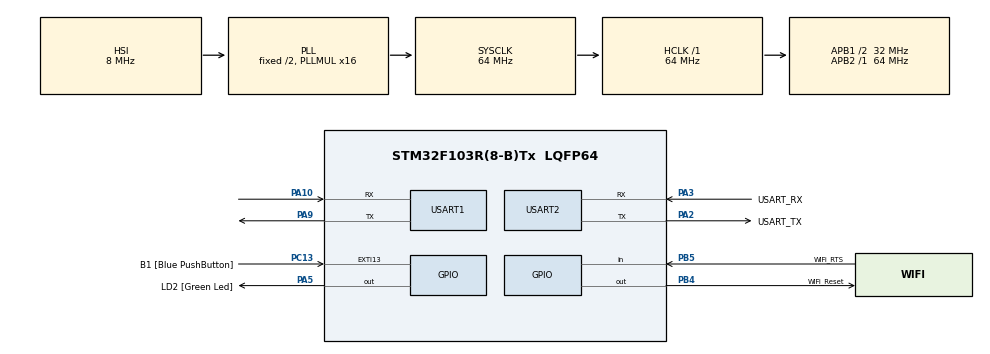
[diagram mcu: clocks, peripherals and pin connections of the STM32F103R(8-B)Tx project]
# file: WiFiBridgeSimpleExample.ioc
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Mcu.Family=STM32F1
Mcu.Name=STM32F103R(8-B)Tx
Mcu.Package=LQFP64
NVIC.EXTI15_10_IRQn=true\:0\:0\:false\:false\:true\:true\:true
NVIC.PriorityGroup=NVIC_PRIORITYGROUP_4
NVIC.USART1_IRQn=true\:0\:0\:false\:false\:true\:true\:false
NVIC.USART2_IRQn=true\:0\:0\:false\:false\:true\:true\:false
PA10.Mode=Asynchronous
PA10.Signal=USART1_RX
PA13.GPIO_Label=TMS
PA13.Mode=Serial_Wire
PA13.Signal=SYS_JTMS-SWDIO
PA14.GPIO_Label=TCK
PA14.Mode=Serial_Wire
PA14.Signal=SYS_JTCK-SWCLK
PA2.GPIO_Label=USART_TX
PA2.GPIO_Mode=GPIO_MODE_AF_PP
PA2.GPIO_PuPd=GPIO_NOPULL
PA2.GPIO_Speed=GPIO_SPEED_FREQ_LOW
PA2.Mode=Asynchronous
PA2.Signal=USART2_TX
PA3.GPIO_Label=USART_RX
PA3.GPIO_Mode=GPIO_MODE_AF_PP
PA3.GPIO_PuPd=GPIO_NOPULL
PA3.GPIO_Speed=GPIO_SPEED_FREQ_LOW
PA3.Mode=Asynchronous
PA3.Signal=USART2_RX
PA5.GPIO_Label=LD2 [Green Led]
PA5.GPIO_ModeDefaultOutputPP=GPIO_MODE_OUTPUT_PP
PA5.GPIO_PuPd=GPIO_NOPULL
PA5.GPIO_Speed=GPIO_SPEED_FREQ_LOW
PA5.Signal=GPIO_Output
PA9.Mode=Asynchronous
PA9.Signal=USART1_TX
PB3.GPIO_Label=SWO
PB3.Signal=SYS_JTDO-TRACESWO
PB4.GPIO_Label=WiFi_Reset
PB4.GPIO_PuPd=GPIO_NOPULL
PB4.Signal=GPIO_Output
PB5.GPIO_Label=WiFi_RTS
PB5.Signal=GPIO_Input
PC13-TAMPER-RTC.GPIO_Label=B1 [Blue PushButton]
PC13-TAMPER-RTC.GPIO_PuPd=GPIO_NOPULL
PC13-TAMPER-RTC.Signal=GPXTI13
PC14-OSC32_IN.Mode=LSE-External-Oscillator
PC14-OSC32_IN.Signal=RCC_OSC32_IN
PC15-OSC32_OUT.Mode=LSE-External-Oscillator
PC15-OSC32_OUT.Signal=RCC_OSC32_OUT
PD0-OSC_IN.Mode=HSE-External-Clock-Source
PD0-OSC_IN.Signal=RCC_OSC_IN
PD1-OSC_OUT.Mode=HSE-External-Clock-Source
PD1-OSC_OUT.Signal=RCC_OSC_OUT
ProjectManager.HeapSize=0x200
ProjectManager.StackSize=0x400
ProjectManager.TargetToolchain=STM32CubeIDE
RCC.AHBFreq_Value=64000000
RCC.APB1CLKDivider=RCC_HCLK_DIV2
RCC.APB1Freq_Value=32000000
RCC.APB1TimFreq_Value=64000000
RCC.APB2Freq_Value=64000000
RCC.APB2TimFreq_Value=64000000
RCC.HCLKFreq_Value=64000000
RCC.PLLMUL=RCC_PLL_MUL16
RCC.RTCClockSelection=RCC_RTCCLKSOURCE_LSE
RCC.SYSCLKFreq_VALUE=64000000
RCC.SYSCLKSource=RCC_SYSCLKSOURCE_PLLCLK
RCC.USBFreq_Value=64000000
USART1.VirtualMode=VM_ASYNC
USART2.VirtualMode=VM_ASYNC
board=NUCLEO-F103RB

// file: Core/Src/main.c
/* USER CODE BEGIN Header */
/**
  ******************************************************************************
  * @file           : main.c
  * @brief          : Main program body
  ******************************************************************************
  * @attention
  *
  * <h2><center>&copy; Copyright (c) 2022 STMicroelectronics.
  * All rights reserved.</center></h2>
  *
  * This software component is licensed by ST under BSD 3-Clause license,
  * the "License"; You may not use this file except in compliance with the
  * License. You may obtain a copy of the License at:
  *                        opensource.org/licenses/BSD-3-Clause
  *
  ******************************************************************************
  */
/* USER CODE END Header */
#include "main.h"

/* USER CODE BEGIN Includes */
#include <stdio.h>

#include "rb.h"
/* USER CODE END Includes */

/* USER CODE BEGIN PD */
#define WIFI_RESET_PORT       WiFi_Reset_GPIO_Port
#define WIFI_RESET_PIN        WiFi_Reset_Pin
#define WIFI_AVAILABLE_PORT   WiFi_RTS_GPIO_Port
#define WIFI_AVAILABLE_PIN    WiFi_RTS_Pin

// TODO: Change Auto/Manual Mode
#define USE_AUTO              1

/* USER CODE END PD */

UART_HandleTypeDef huart1;
UART_HandleTypeDef huart2;

/* USER CODE BEGIN PV */
RingFifo_t gUart1Fifo, gUart2Fifo;
uint8_t gfSoftReset;

/* USER CODE END PV */

void SystemClock_Config(void);
static void MX_GPIO_Init(void);
static void MX_USART2_UART_Init(void);
static void MX_USART1_UART_Init(void);
/* USER CODE BEGIN PFP */
#ifdef __GNUC__
#define PUTCHAR_PROTOTYPE int __io_putchar(int ch)
#else
#define PUTCHAR_PROTOTYPE int fputc(int ch, FILE *f)
#endif /* __GNUC__ */

/**
  * @brief  Retargets the C library printf function to the USART.
  * @param  None
  * @retval None
  */
PUTCHAR_PROTOTYPE
{
  /* Place your implementation of fputc here */
  /* e.g. write a character to the UART2 and Loop until the end of transmission */
  if (ch == '\n')
    HAL_UART_Transmit (&huart2, (uint8_t *) "\r", 1, 0xFFFF);
  HAL_UART_Transmit (&huart2, (uint8_t *) & ch, 1, 0xFFFF);

  return ch;
}

void WiFiBridge_SoftReset()
{
  HAL_GPIO_WritePin(WIFI_RESET_PORT, WIFI_RESET_PIN, GPIO_PIN_SET);
  HAL_Delay(5);
  HAL_GPIO_WritePin(WIFI_RESET_PORT, WIFI_RESET_PIN, GPIO_PIN_RESET);
  HAL_Delay(5);
}

int WiFiBridge_Available()
{
  return !HAL_GPIO_ReadPin(WIFI_AVAILABLE_PORT, WIFI_AVAILABLE_PIN);
}
/* USER CODE END PFP */

int main(void)
{

  /* MCU Configuration--------------------------------------------------------*/

  /* Reset of all peripherals, Initializes the Flash interface and the Systick. */
  HAL_Init();

  /* Configure the system clock */
  SystemClock_Config();

  /* Initialize all configured peripherals */
  MX_GPIO_Init();
  MX_USART2_UART_Init();
  MX_USART1_UART_Init();
  /* USER CODE BEGIN 2 */
  printf ("WiFiBridge Simple Example P/G\n");
  printf ("SYSCLK Frequency = %9ld\n", HAL_RCC_GetSysClockFreq ());
  printf ("HCLK   Frequency = %9ld\n", HAL_RCC_GetHCLKFreq ());
  printf ("PCLK   Frequency = %9ld\n", HAL_RCC_GetPCLK1Freq ());
  /* USER CODE END 2 */

  /* Infinite loop */
  /* USER CODE BEGIN WHILE */
  uint8_t ch, fBridge = 0;

  if (RB_init (&gUart1Fifo, 512))
    {
      Error_Handler ();
    }
  if (RB_init (&gUart2Fifo, 512))
    {
      Error_Handler ();
    }
  __HAL_UART_ENABLE_IT(&huart1, UART_IT_RXNE);
  __HAL_UART_ENABLE_IT(&huart2, UART_IT_RXNE);

  // Init Boot time takes 2 sec
  WiFiBridge_SoftReset();
  HAL_Delay(2000);

  while (1)
  {
      // Check Reset, It Flag is set when push B1 switch.
      if (gfSoftReset)
        {
          gfSoftReset = 0;

          // Software Reset Boot time takes 1 sec
          WiFiBridge_SoftReset();
          HAL_Delay(1000);

          RB_clear(&gUart1Fifo);
          RB_clear(&gUart2Fifo);
        }

#if USE_AUTO
      // Check Bridge mode
      if (WiFiBridge_Available())
        {
          if (fBridge)
            {
              fBridge = 0;
              printf("Socket Communication Available!! (enter bridge mode)\n");

              RB_clear(&gUart1Fifo);
              RB_clear(&gUart2Fifo);
            }

          // LED Off
          HAL_GPIO_WritePin(LD2_GPIO_Port, LD2_Pin, GPIO_PIN_RESET);

          // Bypass UART data
          if (!RB_isempty (&gUart1Fifo))
            {
              ch = RB_read(&gUart1Fifo);
              HAL_UART_Transmit(&huart2, &ch, 1, 0xFFFF);
            }
          if (!RB_isempty (&gUart2Fifo))
            {
              ch = RB_read(&gUart2Fifo);
              HAL_UART_Transmit(&huart1, &ch, 1, 0xFFFF);
            }
        }
      else
        {
          if (!fBridge)
            {
              fBridge = 1;
              printf("\n");
              printf("Wait Socket Connection... (wait bridge mode)\n");
            }

          // LED Toggle
          HAL_GPIO_TogglePin(LD2_GPIO_Port, LD2_Pin);
          HAL_Delay(500);
        }
#else
      // Bypass UART data
      if (!RB_isempty (&gUart1Fifo))
        {
          ch = RB_read(&gUart1Fifo);
          HAL_UART_Transmit(&huart2, &ch, 1, 0xFFFF);
        }
      if (!RB_isempty (&gUart2Fifo))
        {
          ch = RB_read(&gUart2Fifo);
          HAL_UART_Transmit(&huart1, &ch, 1, 0xFFFF);
        }
#endif

    /* USER CODE END WHILE */

  }
}

void SystemClock_Config(void)
{
  RCC_OscInitTypeDef RCC_OscInitStruct = {0};
  RCC_ClkInitTypeDef RCC_ClkInitStruct = {0};

  /** Initializes the RCC Oscillators according to the specified parameters
  * in the RCC_OscInitTypeDef structure.
  */
  RCC_OscInitStruct.OscillatorType = RCC_OSCILLATORTYPE_HSI;
  RCC_OscInitStruct.HSIState = RCC_HSI_ON;
  RCC_OscInitStruct.HSICalibrationValue = RCC_HSICALIBRATION_DEFAULT;
  RCC_OscInitStruct.PLL.PLLState = RCC_PLL_ON;
  RCC_OscInitStruct.PLL.PLLSource = RCC_PLLSOURCE_HSI_DIV2;
  RCC_OscInitStruct.PLL.PLLMUL = RCC_PLL_MUL16;
  if (HAL_RCC_OscConfig(&RCC_OscInitStruct) != HAL_OK)
  {
    Error_Handler();
  }
  /** Initializes the CPU, AHB and APB buses clocks
  */
  RCC_ClkInitStruct.ClockType = RCC_CLOCKTYPE_HCLK|RCC_CLOCKTYPE_SYSCLK
                              |RCC_CLOCKTYPE_PCLK1|RCC_CLOCKTYPE_PCLK2;
  RCC_ClkInitStruct.SYSCLKSource = RCC_SYSCLKSOURCE_PLLCLK;
  RCC_ClkInitStruct.AHBCLKDivider = RCC_SYSCLK_DIV1;
  RCC_ClkInitStruct.APB1CLKDivider = RCC_HCLK_DIV2;
  RCC_ClkInitStruct.APB2CLKDivider = RCC_HCLK_DIV1;

  if (HAL_RCC_ClockConfig(&RCC_ClkInitStruct, FLASH_LATENCY_2) != HAL_OK)
  {
    Error_Handler();
  }
}

static void MX_USART1_UART_Init(void)
{

  huart1.Instance = USART1;
  huart1.Init.BaudRate = 115200;
  huart1.Init.WordLength = UART_WORDLENGTH_8B;
  huart1.Init.StopBits = UART_STOPBITS_1;
  huart1.Init.Parity = UART_PARITY_NONE;
  huart1.Init.Mode = UART_MODE_TX_RX;
  huart1.Init.HwFlowCtl = UART_HWCONTROL_NONE;
  huart1.Init.OverSampling = UART_OVERSAMPLING_16;
  if (HAL_UART_Init(&huart1) != HAL_OK)
  {
    Error_Handler();
  }

}

static void MX_USART2_UART_Init(void)
{

  huart2.Instance = USART2;
  huart2.Init.BaudRate = 115200;
  huart2.Init.WordLength = UART_WORDLENGTH_8B;
  huart2.Init.StopBits = UART_STOPBITS_1;
  huart2.Init.Parity = UART_PARITY_NONE;
  huart2.Init.Mode = UART_MODE_TX_RX;
  huart2.Init.HwFlowCtl = UART_HWCONTROL_NONE;
  huart2.Init.OverSampling = UART_OVERSAMPLING_16;
  if (HAL_UART_Init(&huart2) != HAL_OK)
  {
    Error_Handler();
  }

}

static void MX_GPIO_Init(void)
{
  GPIO_InitTypeDef GPIO_InitStruct = {0};

  /* GPIO Ports Clock Enable */
  __HAL_RCC_GPIOC_CLK_ENABLE();
  __HAL_RCC_GPIOD_CLK_ENABLE();
  __HAL_RCC_GPIOA_CLK_ENABLE();
  __HAL_RCC_GPIOB_CLK_ENABLE();

  /*Configure GPIO pin Output Level */
  HAL_GPIO_WritePin(LD2_GPIO_Port, LD2_Pin, GPIO_PIN_RESET);

  /*Configure GPIO pin Output Level */
  HAL_GPIO_WritePin(WiFi_Reset_GPIO_Port, WiFi_Reset_Pin, GPIO_PIN_RESET);

  /*Configure GPIO pin : B1_Pin */
  GPIO_InitStruct.Pin = B1_Pin;
  GPIO_InitStruct.Mode = GPIO_MODE_IT_RISING;
  GPIO_InitStruct.Pull = GPIO_NOPULL;
  HAL_GPIO_Init(B1_GPIO_Port, &GPIO_InitStruct);

  /*Configure GPIO pin : LD2_Pin */
  GPIO_InitStruct.Pin = LD2_Pin;
  GPIO_InitStruct.Mode = GPIO_MODE_OUTPUT_PP;
  GPIO_InitStruct.Pull = GPIO_NOPULL;
  GPIO_InitStruct.Speed = GPIO_SPEED_FREQ_LOW;
  HAL_GPIO_Init(LD2_GPIO_Port, &GPIO_InitStruct);

  /*Configure GPIO pin : WiFi_Reset_Pin */
  GPIO_InitStruct.Pin = WiFi_Reset_Pin;
  GPIO_InitStruct.Mode = GPIO_MODE_OUTPUT_PP;
  GPIO_InitStruct.Pull = GPIO_NOPULL;
  GPIO_InitStruct.Speed = GPIO_SPEED_FREQ_LOW;
  HAL_GPIO_Init(WiFi_Reset_GPIO_Port, &GPIO_InitStruct);

  /*Configure GPIO pin : WiFi_RTS_Pin */
  GPIO_InitStruct.Pin = WiFi_RTS_Pin;
  GPIO_InitStruct.Mode = GPIO_MODE_INPUT;
  GPIO_InitStruct.Pull = GPIO_NOPULL;
  HAL_GPIO_Init(WiFi_RTS_GPIO_Port, &GPIO_InitStruct);

  /* EXTI interrupt init*/
  HAL_NVIC_SetPriority(EXTI15_10_IRQn, 0, 0);
  HAL_NVIC_EnableIRQ(EXTI15_10_IRQn);

}

/* USER CODE BEGIN 4 */
void HAL_UART_RxCpltCallback (UART_HandleTypeDef *UartHandle)
{
  uint8_t rx;

  if (UartHandle->Instance == USART1)
    {
      rx = (uint8_t) (UartHandle->Instance->DR & (uint8_t) 0x00FF);
      RB_write (&gUart1Fifo, rx);
    }
  if (UartHandle->Instance == USART2)
    {
      rx = (uint8_t) (UartHandle->Instance->DR & (uint8_t) 0x00FF);
      RB_write (&gUart2Fifo, rx);
    }
}

void HAL_GPIO_EXTI_Callback (uint16_t GPIO_Pin)
{
  switch (GPIO_Pin)
  {
    case B1_Pin:
      // Set WiFiBridge Reset Flag
      gfSoftReset = 1;
      break;
  }
}
/* USER CODE END 4 */

void Error_Handler(void)
{
  __disable_irq();
  while (1)
  {
  }
}

/************************ (C) COPYRIGHT STMicroelectronics *****END OF FILE****/
